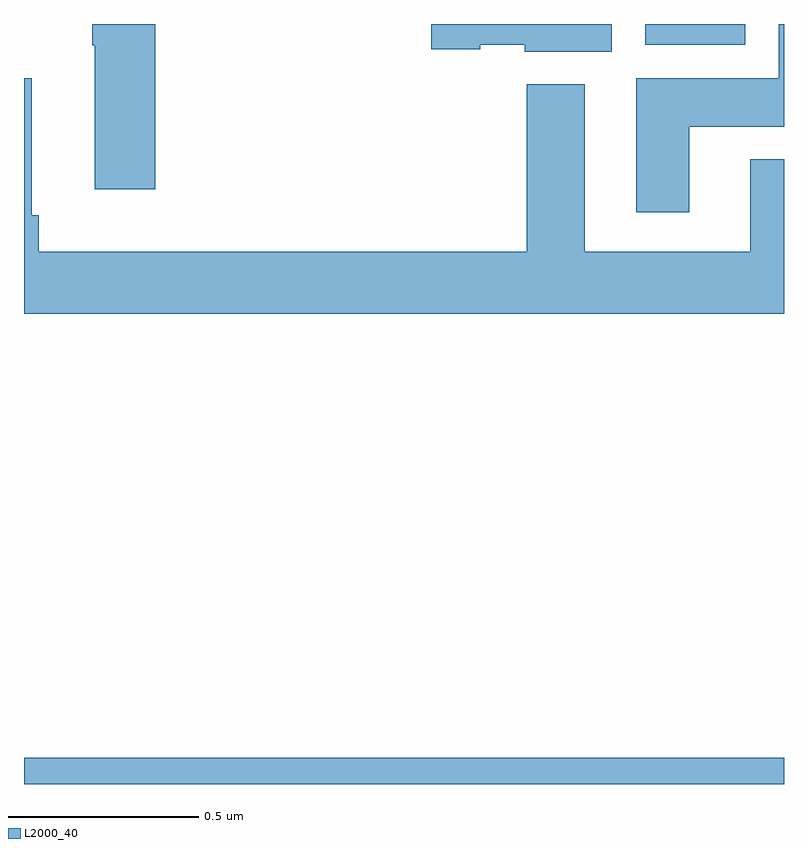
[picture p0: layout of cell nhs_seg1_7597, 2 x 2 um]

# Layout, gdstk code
import gdstk
lib = gdstk.Library(unit=1e-6, precision=1e-09)
def R(c, l, rs):  # rectangles x0, y0, x1, y1
    for r in rs: c.add(gdstk.rectangle(r[:2], r[2:], *l))
def P(c, l, *ps):  # polygons
    for p in ps: c.add(gdstk.Polygon(p, *l))
L2000_40 = (2000, 40)

nhs_seg1_7597 = lib.new_cell('nhs_seg1_7597')
R(nhs_seg1_7597, L2000_40, [(206,513.199,208,513.268), (207.635,515.144,207.898,515.199)])
P(nhs_seg1_7597, L2000_40, [(207.751,514.928),(208,514.928),(208,515.199),(207.986,515.199),(207.986,515.056),(207.611,515.056),(207.611,514.704),(207.751,514.704)],
  [(207.547,515.199),(207.072,515.199),(207.072,515.132),(207.201,515.132),(207.201,515.144),(207.318,515.144),(207.318,515.126),(207.547,515.126)],
  [(206.345,515.199),(206.179,515.199),(206.179,515.143),(206.186,515.143),(206.186,514.764),(206.345,514.764)],
  [(208,514.843),(207.911,514.843),(207.911,514.6),(207.475,514.6),(207.475,515.041),(207.323,515.041),(207.323,514.6),(206.039,514.6),(206.039,514.696),(206.02,514.696),(206.02,515.056),(206,515.056),(206,514.436),(208,514.436)])

lib.write_gds('nhs_seg1_7597.gds')
